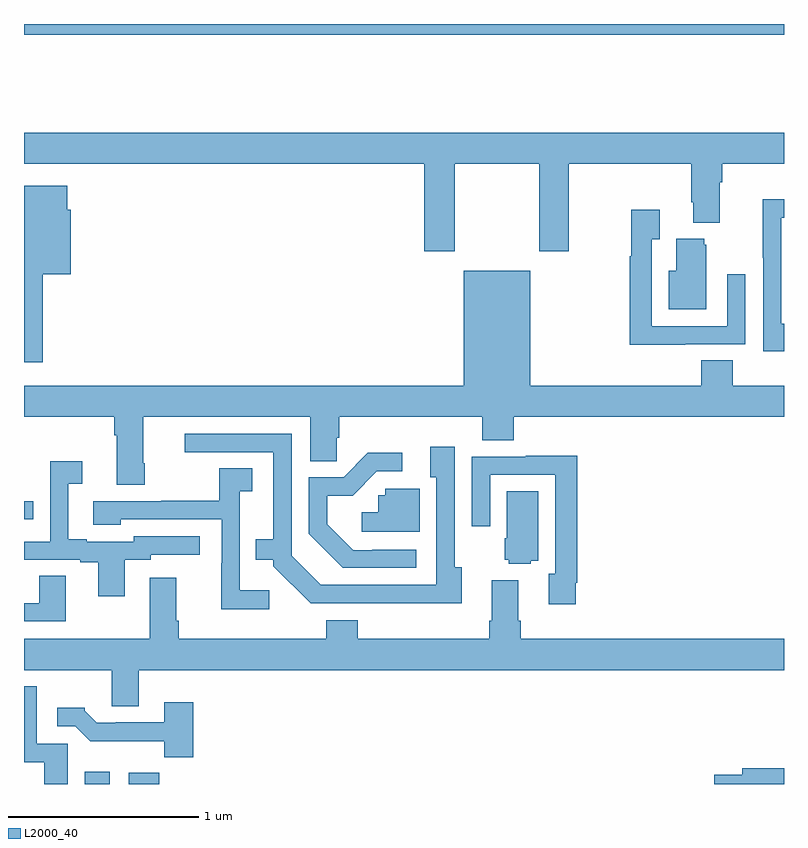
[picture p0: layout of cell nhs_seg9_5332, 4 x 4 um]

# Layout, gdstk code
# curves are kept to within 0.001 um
import gdstk
lib = gdstk.Library(unit=1e-6, precision=1e-09)
def R(c, l, rs):  # rectangles x0, y0, x1, y1
    for r in rs: c.add(gdstk.rectangle(r[:2], r[2:], *l))
def P(c, l, *ps):  # polygons
    for p in ps: c.add(gdstk.Polygon(p, *l))
L2000_40 = (2000, 40)

nhs_seg9_5332 = lib.new_cell('nhs_seg9_5332')
R(nhs_seg9_5332, L2000_40, [(421.319,1182.5,421.45,1182.565), (421.55,1182.5,421.712,1182.559), (421,1183.894,421.048,1183.989), (421,1186.444,425,1186.5)])
P(nhs_seg9_5332, L2000_40, [(423.267,1185.764),(423.712,1185.764),(423.712,1185.303),(423.867,1185.303),(423.867,1185.764),(424.511,1185.764),(424.511,1185.562),(424.523,1185.562),(424.523,1185.455),(424.663,1185.455),(424.663,1185.668),(424.676,1185.668),(424.676,1185.764),(425,1185.764),(425,1185.928),(421,1185.928),(421,1185.764),(423.107,1185.764),(423.107,1185.303),(423.267,1185.303)],
  [(421.099,1185.182),(421.246,1185.182),(421.246,1185.522),(421.228,1185.522),(421.228,1185.649),(421,1185.649),(421,1184.721),(421.099,1184.721)],
  [(425,1184.922),(424.986,1184.922),(424.986,1185.48),(425,1185.48),(425,1185.578),(424.888,1185.578),(424.888,1185.271),(424.89,1185.271),(424.89,1184.778),(425,1184.778)],
  [(424.481,1184.814),(424.797,1184.814),(424.797,1185.184),(424.701,1185.184),(424.701,1184.91),(424.305,1184.91),(424.305,1185.367),(424.345,1185.367),(424.345,1185.523),(424.197,1185.523),(424.197,1185.278),(424.189,1185.278),(424.189,1184.813),(424.481,1184.813)],
  [(424.591,1185.339),(424.58,1185.339),(424.58,1185.37),(424.433,1185.37),(424.433,1185.202),(424.394,1185.202),(424.394,1184.999),(424.591,1184.999)],
  [(421.635,1184.188),(421.627,1184.188),(421.627,1184.432),(422.507,1184.432),(422.507,1184.2),(422.645,1184.2),(422.645,1184.322),(422.66,1184.322),(422.66,1184.432),(423.413,1184.432),(423.413,1184.308),(423.578,1184.308),(423.578,1184.432),(425,1184.432),(425,1184.596),(424.73,1184.596),(424.73,1184.729),(424.565,1184.729),(424.565,1184.596),(423.664,1184.596),(423.664,1185.202),(423.314,1185.202),(423.314,1184.596),(421,1184.596),(421,1184.432),(421.475,1184.432),(421.475,1184.336),(421.487,1184.336),(421.487,1184.076),(421.635,1184.076)],
  [(423.304,1183.642),(423.267,1183.642),(423.267,1184.275),(423.137,1184.275),(423.137,1184.114),(423.171,1184.114),(423.171,1183.548),(422.562,1183.548),(422.409,1183.701),(422.409,1184.343),(421.845,1184.343),(421.845,1184.247),(422.312,1184.247),(422.312,1183.789),(422.221,1183.789),(422.221,1183.679),(422.313,1183.679),(422.313,1183.647),(422.508,1183.452),(423.304,1183.451)],
  [(423.064,1183.734),(422.833,1183.734),(422.833,1183.731),(422.733,1183.731),(422.596,1183.868),(422.596,1184.018),(422.729,1184.018),(422.856,1184.145),(422.992,1184.145),(422.992,1184.243),(422.81,1184.243),(422.682,1184.115),(422.499,1184.115),(422.499,1183.817),(422.678,1183.638),(423.064,1183.638)],
  [(423.904,1183.558),(423.911,1183.558),(423.911,1184.227),(423.641,1184.227),(423.641,1184.223),(423.357,1184.223),(423.357,1183.857),(423.453,1183.857),(423.453,1184.127),(423.795,1184.127),(423.795,1183.607),(423.761,1183.607),(423.761,1183.446),(423.904,1183.446)],
  [(421.531,1183.68),(421.668,1183.68),(421.668,1183.707),(421.924,1183.707),(421.924,1183.803),(421.578,1183.803),(421.578,1183.776),(421.33,1183.776),(421.33,1183.789),(421.234,1183.789),(421.234,1184.08),(421.306,1184.08),(421.306,1184.2),(421.137,1184.2),(421.137,1183.776),(421,1183.776),(421,1183.68),(421.295,1183.68),(421.295,1183.668),(421.391,1183.668),(421.391,1183.488),(421.531,1183.488)],
  [(422.29,1183.519),(422.136,1183.519),(422.136,1184.041),(422.2,1184.041),(422.2,1184.162),(422.028,1184.162),(422.028,1183.992),(421.723,1183.992),(421.723,1183.989),(421.365,1183.989),(421.365,1183.865),(421.509,1183.865),(421.509,1183.893),(422.04,1183.893),(422.04,1183.661),(422.038,1183.661),(422.038,1183.421),(422.29,1183.421)],
  [(423.082,1184.055),(422.901,1184.055),(422.901,1184.019),(422.865,1184.019),(422.865,1183.93),(422.778,1183.93),(422.778,1183.827),(423.082,1183.827)],
  [(423.666,1183.676),(423.706,1183.676),(423.706,1184.042),(423.542,1184.042),(423.542,1183.794),(423.53,1183.794),(423.53,1183.68),(423.552,1183.68),(423.552,1183.658),(423.666,1183.658)],
  [(421.219,1183.595),(421.079,1183.595),(421.079,1183.452),(421,1183.452),(421,1183.356),(421.219,1183.356)],
  [(421.603,1183.1),(425,1183.1),(425,1183.264),(423.614,1183.264),(423.614,1183.36),(423.601,1183.36),(423.601,1183.573),(423.461,1183.573),(423.461,1183.36),(423.449,1183.36),(423.449,1183.264),(422.756,1183.264),(422.756,1183.363),(422.591,1183.363),(422.591,1183.264),(421.814,1183.264),(421.814,1183.36),(421.801,1183.36),(421.801,1183.585),(421.661,1183.585),(421.661,1183.264),(421,1183.264),(421,1183.1),(421.463,1183.1),(421.463,1182.91),(421.603,1182.91)],
  [(421.231,1182.711),(421.068,1182.711),(421.068,1183.015),(421,1183.015),(421,1182.614),(421.106,1182.614),(421.106,1182.5),(421.231,1182.5)],
  [(421.892,1182.931),(421.739,1182.931),(421.739,1182.825),(421.483,1182.825),(421.483,1182.822),(421.384,1182.822),(421.32,1182.886),(421.32,1182.901),(421.176,1182.901),(421.176,1182.804),(421.269,1182.804),(421.348,1182.726),(421.737,1182.726),(421.737,1182.641),(421.892,1182.641)],
  [(425,1182.584),(424.781,1182.584),(424.781,1182.548),(424.632,1182.548),(424.632,1182.5),(425,1182.5)])

lib.write_gds('nhs_seg9_5332.gds')
